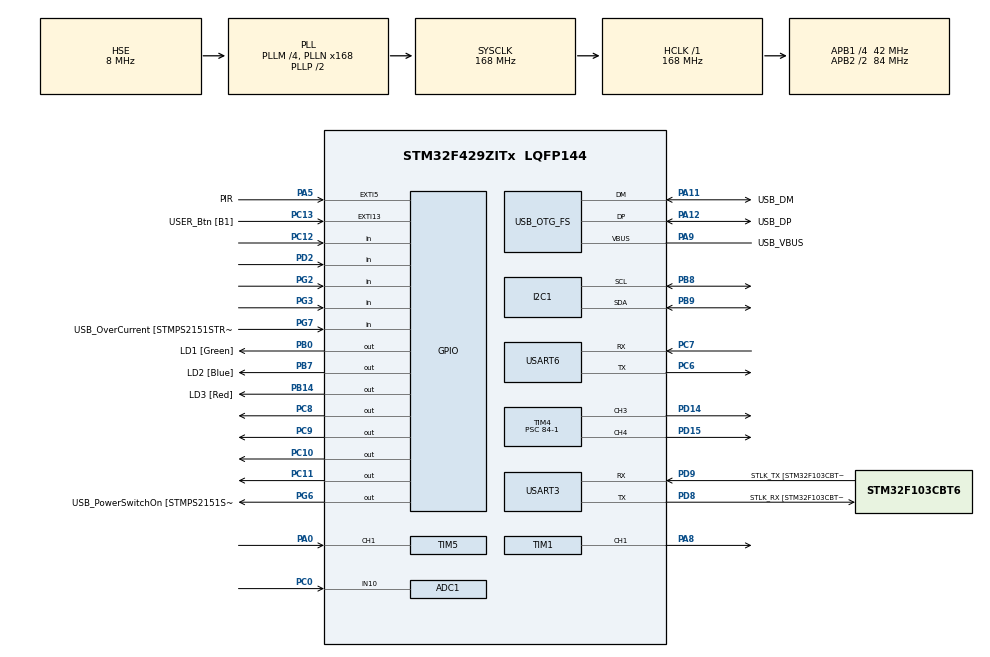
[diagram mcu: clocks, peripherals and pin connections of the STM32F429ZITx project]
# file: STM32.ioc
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ADC1.Channel-1\#ChannelRegularConversion=ADC_CHANNEL_10
ADC1.ContinuousConvMode=ENABLE
ADC1.EOCSelection=ADC_EOC_SEQ_CONV
ADC1.EnableAnalogWatchDog=true
ADC1.NbrOfConversionFlag=1
ADC1.Rank-1\#ChannelRegularConversion=1
ADC1.SamplingTime-1\#ChannelRegularConversion=ADC_SAMPLETIME_3CYCLES
ADC1.ScanConvMode=ENABLE
ADC1.WatchdogChannel=ADC_CHANNEL_10
ADC1.master=1
Mcu.Family=STM32F4
Mcu.Name=STM32F429ZITx
Mcu.Package=LQFP144
NVIC.EXTI9_5_IRQn=true\:2\:0\:true\:false\:true\:true\:true\:true
NVIC.PriorityGroup=NVIC_PRIORITYGROUP_4
NVIC.TIM2_IRQn=true\:1\:0\:true\:false\:true\:true\:true\:true
NVIC.TIM5_IRQn=true\:0\:0\:true\:false\:true\:true\:true\:true
NVIC.USART6_IRQn=true\:3\:0\:true\:false\:true\:true\:true\:true
PA0/WKUP.Signal=S_TIM5_CH1
PA1.GPIO_Label=RMII_REF_CLK [LAN8742A-CZ-TR_REFCLK0]
PA1.Signal=ETH_REF_CLK
PA10.GPIO_Label=USB_ID
PA10.Signal=USB_OTG_FS_ID
PA11.GPIO_Label=USB_DM
PA11.Mode=Device_Only
PA11.Signal=USB_OTG_FS_DM
PA12.GPIO_Label=USB_DP
PA12.Mode=Device_Only
PA12.Signal=USB_OTG_FS_DP
PA13.GPIO_Label=TMS
PA13.Mode=Serial_Wire
PA13.Signal=SYS_JTMS-SWDIO
PA14.GPIO_Label=TCK
PA14.Mode=Serial_Wire
PA14.Signal=SYS_JTCK-SWCLK
PA2.GPIO_Label=RMII_MDIO [LAN8742A-CZ-TR_MDIO]
PA2.Signal=ETH_MDIO
PA5.GPIO_Label=PIR
PA5.Signal=GPXTI5
PA6.Signal=S_TIM13_CH1
PA7.Signal=S_TIM14_CH1
PA8.Signal=S_TIM1_CH1
PA9.GPIO_Label=USB_VBUS
PA9.Mode=Activate_VBUS
PA9.Signal=USB_OTG_FS_VBUS
PB0.GPIO_Label=LD1 [Green]
PB0.Signal=GPIO_Output
PB13.GPIO_Label=RMII_TXD1 [LAN8742A-CZ-TR_TXD1]
PB13.Signal=ETH_TXD1
PB14.GPIO_Label=LD3 [Red]
PB14.Signal=GPIO_Output
PB7.GPIO_Label=LD2 [Blue]
PB7.Signal=GPIO_Output
PB8.GPIO_Pu=GPIO_PULLUP
PB8.Mode=I2C
PB8.Signal=I2C1_SCL
PB9.GPIO_Pu=GPIO_PULLUP
PB9.Mode=I2C
PB9.Signal=I2C1_SDA
PC0.Signal=ADCx_IN10
PC1.GPIO_Label=RMII_MDC [LAN8742A-CZ-TR_MDC]
PC1.Signal=ETH_MDC
PC10.Signal=GPIO_Output
PC11.Signal=GPIO_Output
PC12.GPIO_PuPd=GPIO_PULLUP
PC12.Signal=GPIO_Input
PC13.GPIO_Label=USER_Btn [B1]
PC13.Signal=GPXTI13
PC14/OSC32_IN.Mode=LSE-External-Oscillator
PC14/OSC32_IN.Signal=RCC_OSC32_IN
PC15/OSC32_OUT.Mode=LSE-External-Oscillator
PC15/OSC32_OUT.Signal=RCC_OSC32_OUT
PC6.GPIO_PuPd=GPIO_PULLDOWN
PC6.Mode=Asynchronous
PC6.Signal=USART6_TX
PC7.Mode=Asynchronous
PC7.Signal=USART6_RX
PC8.Signal=GPIO_Output
PC9.Signal=GPIO_Output
PD14.Signal=S_TIM4_CH3
PD15.Signal=S_TIM4_CH4
PD2.GPIO_PuPd=GPIO_PULLUP
PD2.Signal=GPIO_Input
PD8.GPIO_Label=STLK_RX [STM32F103CBT6_PA3]
PD8.Mode=Asynchronous
PD8.Signal=USART3_TX
PD9.GPIO_Label=STLK_TX [STM32F103CBT6_PA2]
PD9.Mode=Asynchronous
PD9.Signal=USART3_RX
PG11.GPIO_Label=RMII_TX_EN [LAN8742A-CZ-TR_TXEN]
PG11.Signal=ETH_TX_EN
PG13.GPIO_Label=RMII_TXD0 [LAN8742A-CZ-TR_TXD0]
PG13.Signal=ETH_TXD0
PG2.GPIO_PuPd=GPIO_PULLUP
PG2.Signal=GPIO_Input
PG3.GPIO_PuPd=GPIO_PULLUP
PG3.Signal=GPIO_Input
PG6.GPIO_Label=USB_PowerSwitchOn [STMPS2151STR_EN]
PG6.Signal=GPIO_Output
PG7.GPIO_Label=USB_OverCurrent [STMPS2151STR_FAULT]
PG7.Signal=GPIO_Input
PH0/OSC_IN.GPIO_Label=MCO [STM32F103CBT6_PA8]
PH0/OSC_IN.Mode=HSE-External-Clock-Source
PH0/OSC_IN.Signal=RCC_OSC_IN
PH1/OSC_OUT.Mode=HSE-External-Clock-Source
PH1/OSC_OUT.Signal=RCC_OSC_OUT
ProjectManager.HeapSize=0x200
ProjectManager.StackSize=0x400
ProjectManager.TargetToolchain=STM32CubeIDE
RCC.48MHZClocksFreq_Value=48000000
RCC.AHBFreq_Value=168000000
RCC.APB1CLKDivider=RCC_HCLK_DIV4
RCC.APB1Freq_Value=42000000
RCC.APB1TimFreq_Value=84000000
RCC.APB2CLKDivider=RCC_HCLK_DIV2
RCC.APB2Freq_Value=84000000
RCC.APB2TimCLKDivider=2
RCC.APB2TimFreq_Value=168000000
RCC.CortexFreq_Value=168000000
RCC.HCLKFreq_Value=168000000
RCC.HSE_VALUE=8000000
RCC.HSI_VALUE=16000000
RCC.PLLM=4
RCC.PLLMUL=RCC_PLL_MUL9
RCC.PLLN=168
RCC.PLLQ=7
RCC.PRESCALERUSB=RCC_USBCLKSOURCE_PLL_DIV1_5
RCC.SYSCLKFreq_VALUE=168000000
RCC.SYSCLKSource=RCC_SYSCLKSOURCE_PLLCLK
RCC.SYSCLKSourceVirtual=RCC_SYSCLKSOURCE_PLLCLK
RCC.USBFreq_Value=48000000
RCC.VCOOutputFreq_Value=336000000
SH.ADCx_IN10.0=ADC1_IN10,IN10
SH.S_TIM13_CH1.0=TIM13_CH1
SH.S_TIM14_CH1.0=TIM14_CH1
SH.S_TIM1_CH1.0=TIM1_CH1,PWM Generation1 CH1
SH.S_TIM4_CH3.0=TIM4_CH3,PWM Generation3 CH3
SH.S_TIM4_CH4.0=TIM4_CH4,PWM Generation4 CH4
SH.S_TIM5_CH1.0=TIM5_CH1,Input_Capture1_from_TI1
TIM1.Channel-PWM\ Generation1\ CH1=TIM_CHANNEL_1
TIM1.Period=100 - 1
TIM1.Prescaler=1800 - 1
TIM2.Period=300000 - 1
TIM2.Prescaler=8400 - 1
TIM4.Channel-PWM\ Generation3\ CH3=TIM_CHANNEL_3
TIM4.Channel-PWM\ Generation4\ CH4=TIM_CHANNEL_4
TIM4.Period=20000-1
TIM4.Prescaler=84-1
TIM4.Pulse-PWM\ Generation3\ CH3=1500
TIM4.Pulse-PWM\ Generation4\ CH4=1500
TIM5.Channel-Input_Capture1_from_TI1=TIM_CHANNEL_1
TIM5.Period=0xFFFFFFFF
TIM5.Prescaler=83
USART3.VirtualMode=VM_ASYNC
USART6.VirtualMode=VM_ASYNC
USB_OTG_FS.VirtualMode=Device_Only
VP_TIM1_VS_ClockSourceINT.Mode=Internal
VP_TIM2_VS_ClockSourceINT.Mode=Internal
VP_TIM4_VS_ClockSourceINT.Mode=Internal
VP_TIM5_VS_ClockSourceINT.Mode=Internal
board=NUCLEO-F429ZI

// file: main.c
/* USER CODE BEGIN Header */
/**
  ******************************************************************************
  * @file           : main.c
  * @brief          : Main program body
  ******************************************************************************
  * @attention
  *
  * Copyright (c) 2025 STMicroelectronics.
  * All rights reserved.
  *
  * This software is licensed under terms that can be found in the LICENSE file
  * in the root directory of this software component.
  * If no LICENSE file comes with this software, it is provided AS-IS.
  *
  ******************************************************************************
  */
/* USER CODE END Header */
#include "main.h"

/* USER CODE BEGIN Includes */
#include "servo.h"
#include "motor.h"
#include "ESP32.h"
#include "temperature.h"
#include "lcd1602_i2c.h"
#include "keypad.h"
#include <stdio.h>
#include <string.h>
#include <stdlib.h>

/* USER CODE END Includes */

ADC_HandleTypeDef hadc1;

I2C_HandleTypeDef hi2c1;

TIM_HandleTypeDef htim1;
TIM_HandleTypeDef htim2;
TIM_HandleTypeDef htim4;
TIM_HandleTypeDef htim5;

UART_HandleTypeDef huart3;
UART_HandleTypeDef huart6;

PCD_HandleTypeDef hpcd_USB_OTG_FS;

void SystemClock_Config(void);
static void MX_GPIO_Init(void);
static void MX_USART3_UART_Init(void);
static void MX_USB_OTG_FS_PCD_Init(void);
static void MX_ADC1_Init(void);
static void MX_TIM1_Init(void);
static void MX_USART6_UART_Init(void);
static void MX_TIM2_Init(void);
static void MX_I2C1_Init(void);
static void MX_TIM4_Init(void);
static void MX_TIM5_Init(void);

/* USER CODE BEGIN 0 */
char str[256];
char strC1[17];
char strC2[17];

int PIR_Flags=1;
volatile uint8_t bitCount = 0;
volatile uint8_t isStartCaptured = 0;
volatile uint32_t receivedData = 0;
static volatile uint32_t IC_Value = 0;
char ir_value = 'N';
/* USER CODE END 0 */

int main(void)
{

  /* MCU Configuration--------------------------------------------------------*/

  /* Reset of all peripherals, Initializes the Flash interface and the Systick. */
  HAL_Init();

  /* Configure the system clock */
  SystemClock_Config();

  /* Initialize all configured peripherals */
  MX_GPIO_Init();
  MX_USART3_UART_Init();
  MX_USB_OTG_FS_PCD_Init();
  MX_ADC1_Init();
  MX_TIM1_Init();
  MX_USART6_UART_Init();
  MX_TIM2_Init();
  MX_I2C1_Init();
  MX_TIM4_Init();
  MX_TIM5_Init();
  /* USER CODE BEGIN 2 */
  HAL_TIM_PWM_Start(&htim4, TIM_CHANNEL_3);
  HAL_TIM_PWM_Start(&htim4, TIM_CHANNEL_4);
  HAL_TIM_Base_Start_IT(&htim2);
  HAL_TIM_IC_Start_IT(&htim5, TIM_CHANNEL_1);
  Motor_Init(&htim1);
  Keypad_Init();
  Calibrate_Servo_Zero();
  HAL_ADC_Start(&hadc1);
  LCD_Init();
  LCD_Clear();
  uint32_t lastUpdate = 0; //  ?????? ?  ? ?????? ?次更?  ??  ??
  int oldFanState = -1,oldFanSpeed = -1,oldFanhAngle = -1,oldFanvAngle = -1;
  float temperature = ADC1_temperature(),oldtemperature=25;
  int hAngle_state=0,vAngle_state=0,hAngle=0,vAngle=0,hstep=1,vstep=1;
  char tempKey='N';
  static uint32_t lastIRProcessTick = 0;

//  FanData fanStatus = ESP32_GetFanData();
  /* USER CODE END 2 */

  /* Infinite loop */
  while (1)
  {

    /* USER CODE BEGIN 3 */

//	  temperature = Get_Temperature(); // ??????????30秒更?  溫度

	  temperature = ADC1_temperature(); //?  ?? ?  ?  溫度
	  ESP32_UART_Receive(); //??  ? ESP32??  ??
	  FanData fanStatus = ESP32_GetFanData();

	  if(HAL_GPIO_ReadPin(USER_Btn_GPIO_Port, USER_Btn_Pin)==1){//STM32 ?????? ?  ?  ???????
    	  fanStatus.fanState = !fanStatus.fanState;
	  }

	  if(PIR_Flags==0){//PIR??  ? ?   ?  人自??  ?  ?  ?????????
		  fanStatus.fanState=0;
	  }

	  if(fanStatus.fanState==0){//?  ?? State?  ?   ?????? ??
		  Motor_Stop();
	  }else{
		  if(fanStatus.fanState>1){
			  fanStatus.fanState=1;
		  }
		  Motor_SetSpeed(fanStatus.fanSpeed);
	  }

	  //?  顆伺??  ????????  ?  ???????  ?
	  if(hAngle_state){
		  if (hAngle >= 100) {
		      hAngle = 100;
		      hstep = -5;
		  } else if (hAngle <= 0) {
		      hAngle = 0;
		      hstep = 5;
		  }
		  hAngle+=hstep;
		  fanStatus.hAngle=hAngle;
		  Set_Servo_Angle((int)(fanStatus.hAngle*1.8),360);
	  }else{
		  Set_Servo_Angle((int)(fanStatus.hAngle*1.8),360);
		  hAngle=fanStatus.hAngle;
	  }
	  if(vAngle_state){
		  if (vAngle >= 100) {
		      vAngle = 100;
		      vstep = -5;
		  } else if (hAngle <= 0) {
		      vAngle = 0;
		      vstep = 5;
		  }
		  vAngle+=vstep;
		  fanStatus.vAngle=vAngle;
		  Set_Servo_Angle((int)(fanStatus.vAngle*0.9),180);
	  }else{
		  Set_Servo_Angle((int)(fanStatus.vAngle*0.9),180);
		  vAngle=fanStatus.vAngle;
	  }

	  char key = Keypad_Scan();
	  if (key) {
		  tempKey=key;
		  switch (key) {
			  case 'A':
				  fanStatus.fanState = !fanStatus.fanState;
				  break;
			  case '3':
				  if(fanStatus.fanSpeed<=0){
					  fanStatus.fanSpeed=0;
				  }else{
					  fanStatus.fanSpeed-=10;
				  }
				  break;
			  case '2':
				  fanStatus.fanSpeed=50;
				  break;
			  case '1':
				  if(fanStatus.fanSpeed>=100){
					  fanStatus.fanSpeed=100;
				  }else{
					  fanStatus.fanSpeed+=10;
				  }
				  break;

			  case 'B':
				  hAngle_state = !hAngle_state;
				  break;
			  case '6':
				  hAngle_state=0;
				  if(fanStatus.hAngle<=0){
					  fanStatus.hAngle=0;
				  }else{
					  fanStatus.hAngle-=10;
				  }
				  break;
			  case '5':
				  hAngle_state=0;
				  fanStatus.hAngle=50;
				  break;
			  case '4':
				  hAngle_state=0;
				  if(fanStatus.hAngle>=100){
					  fanStatus.hAngle=100;
				  }else{
					  fanStatus.hAngle+=10;
				  }
				  break;

			  case 'C':
				  vAngle_state = !vAngle_state;
				  break;
			  case '9':
				  vAngle_state=0;
				  if(fanStatus.vAngle<=0){
					  fanStatus.vAngle=0;
				  }else{
					  fanStatus.vAngle-=10;
				  }
				  break;
			  case '8':
				  vAngle_state=0;
				  fanStatus.vAngle=50;
				  break;
			  case '7':
				  vAngle_state=0;
				  if(fanStatus.vAngle>=100){
					  fanStatus.vAngle=100;
				  }else{
					  fanStatus.vAngle+=10;
				  }
				  break;
			  default:
				  break;
		  }
	  }
	  if (32 <= bitCount){
		  if (((receivedData>>16) & 0xFF) == ((~(receivedData>>24)) & 0xFF)){
			switch(receivedData) {
				case 0xB946FF00:  // up
					ir_value = 'U';
					  vAngle_state=0;
					  if(fanStatus.vAngle>=100){
						  fanStatus.vAngle=100;
					  }else{
						  fanStatus.vAngle+=10;
					  }
					break;
				case 0xEA15FF00:  // down
					ir_value = 'D';
					  vAngle_state=0;
					  if(fanStatus.vAngle<=0){
						  fanStatus.vAngle=0;
					  }else{
						  fanStatus.vAngle-=10;
					  }
					break;
				case 0xBB44FF00:  // left
					ir_value = 'L';
					  hAngle_state=0;
					  if(fanStatus.hAngle<=0){
						  fanStatus.hAngle=0;
					  }else{
						  fanStatus.hAngle-=10;
					  }
					break;
				case 0xBC43FF00:  // right
					ir_value = 'R';
					  hAngle_state=0;
					  if(fanStatus.hAngle>=100){
						  fanStatus.hAngle=100;
					  }else{
						  fanStatus.hAngle+=10;
					  }
					break;
				case 0xBF40FF00:  // OK
					ir_value = 'O';
					  fanStatus.fanState = !fanStatus.fanState;
					break;
				case 0xE916FF00:
					ir_value = '1';
					fanStatus.fanSpeed=10;
					break;
				case 0xE619FF00:
					ir_value = '2';
					fanStatus.fanSpeed=20;
					break;
				case 0xF20DFF00:
					ir_value = '3';
					fanStatus.fanSpeed=30;
					break;
				case 0xF30CFF00:
					ir_value = '4';
					fanStatus.fanSpeed=40;
					break;
				case 0xE718FF00:
					ir_value = '5';
					fanStatus.fanSpeed=50;
					break;
				case 0xA15EFF00:
					ir_value = '6';
					fanStatus.fanSpeed=60;
					break;
				case 0xF708FF00:
					ir_value = '7';
					fanStatus.fanSpeed=70;
					break;
				case 0xE31CFF00:
					ir_value = '8';
					fanStatus.fanSpeed=80;
					break;
				case 0xA55AFF00:
					ir_value = '9';
					fanStatus.fanSpeed=90;
					break;
				case 0xAD52FF00:
					ir_value = '0';
					fanStatus.fanSpeed=100;
					break;
				case 0xBD42FF00:
					ir_value = '*';
					  hAngle_state = !hAngle_state;
					break;
				case 0xB54AFF00:
					ir_value = '#';
					  vAngle_state = !vAngle_state;
					break;
				default:
					ir_value = 'N';  // ?   ?????? ?  ? ?
					break;
			}
		  }else{
			  ir_value='N';
		  }
		    HAL_TIM_IC_Stop_IT(&htim5, TIM_CHANNEL_1);
		    __HAL_TIM_CLEAR_IT(&htim5, TIM_IT_CC1);
		    __HAL_TIM_CLEAR_FLAG(&htim5, TIM_FLAG_CC1);
		    __HAL_TIM_SET_COUNTER(&htim5, 0);
		    bitCount = 0;
		    receivedData = 0;
		    isStartCaptured = 0;

		    // 等 ?? 100ms ??  ? 許下 ?次解 ?
		    lastIRProcessTick = HAL_GetTick();

		  HAL_TIM_IC_Start_IT(&htim5, TIM_CHANNEL_1);                // ?? 新??  ? 中?

//	  		if (ir_value != '\0') {
//	  		  	sprintf(str,"IR char: %c\r\n", ir_value);
//	  		  	HAL_UART_Transmit(&huart3, (uint8_t*)str, strlen(str), 100);
//	  		}
	  }
	  if ((HAL_GetTick() - lastIRProcessTick) > 100) {
	      if (bitCount == 0 && isStartCaptured == 0) {
	          HAL_TIM_IC_Start_IT(&htim5, TIM_CHANNEL_1);
	      }
	  }
	  //??  ?  ? ?  ?  ??  ? ?  給ESP32
      if (fanStatus.fanState != oldFanState||fanStatus.fanSpeed != oldFanSpeed||fanStatus.hAngle != oldFanhAngle||fanStatus.vAngle != oldFanvAngle||oldtemperature!=temperature) {  // **?  ?  ?? ?   ?????? ? ?  ??**
          SendDataToESP32(fanStatus.fanState, fanStatus.fanSpeed, fanStatus.hAngle, fanStatus.vAngle,temperature);
          oldFanState = fanStatus.fanState;
          oldFanSpeed = fanStatus.fanSpeed;
          oldFanhAngle = fanStatus.hAngle;
          oldFanvAngle = fanStatus.vAngle;
          oldtemperature = temperature;
      }

      //AccessPort顯示
//      sprintf(str,"State: %d Speed: %d%%\n hAngle_state: %d hAngle: %d vAngle_state: %d vAngle: %d\n T: %f ",fanStatus.fanState,fanStatus.fanSpeed,hAngle_state,(int)(fanStatus.hAngle*1.8),vAngle_state,(int)(fanStatus.vAngle*0.9),temperature);
//	  HAL_UART_Transmit(&huart3, (uint8_t*)str, strlen(str), 300);
//      sprintf(str,"tempKey: %c PIR_Flags: %d IR: %c\n \n",tempKey,PIR_Flags,ir_value);
//	  HAL_UART_Transmit(&huart3, (uint8_t*)str, strlen(str), 300);
      sprintf(str,
        "=========\r\n"
        "| State        : %d\r\n"
        "| Speed        : %d %%\r\n"
        "| hAngle_state : %d\r\n"
        "| hAngle       : %d\r\n"
        "| vAngle_state : %d\r\n"
        "| vAngle       : %d\r\n"
        "| Temperature  : %.2f\r\n"
        "| tempKey      : %c\r\n"
        "| PIR_Flags    : %d\r\n"
        "| IR           : %c\r\n"
        "=========\r\n",
        fanStatus.fanState,
        fanStatus.fanSpeed,
        hAngle_state,
        (int)(fanStatus.hAngle * 1.8),
        vAngle_state,
        (int)(fanStatus.vAngle * 0.9),
        temperature,
        tempKey,
        PIR_Flags,
        ir_value
      );
      HAL_UART_Transmit(&huart3, (uint8_t*)str, strlen(str), HAL_MAX_DELAY);

      if (HAL_GetTick() - lastUpdate >= 500) {
          lastUpdate = HAL_GetTick();
//          LCD_Clear();

          sprintf(strC1, "F%dS%3d T%2d P%dR%c",
                  fanStatus.fanState,
                  fanStatus.fanSpeed,
                  (int)temperature,
                  PIR_Flags,
                  ir_value);
          sprintf(strC1 + strlen(strC1), "%*s", 16 - strlen(strC1), "");
          LCD_SetCursor(0, 0);
          LCD_Print(strC1);

          sprintf(strC2, "h%d%3d v%d%3d K%c",
                  hAngle_state,
                  (int)(fanStatus.hAngle * 1.8),
                  vAngle_state,
                  (int)(fanStatus.vAngle * 0.9),
                  tempKey);
          sprintf(strC2 + strlen(strC2), "%*s", 16 - strlen(strC2), "");
          LCD_SetCursor(1, 0);
          LCD_Print(strC2);
      }
//	  memset(str, 0, sizeof(str));
//	  memset(strC1, 0, sizeof(strC1));
//	  memset(strC2, 0, sizeof(strC2));
//            */
	  HAL_Delay(500);

  }
  /* USER CODE END 3 */
}

void SystemClock_Config(void)
{
  RCC_OscInitTypeDef RCC_OscInitStruct = {0};
  RCC_ClkInitTypeDef RCC_ClkInitStruct = {0};

  /** Configure the main internal regulator output voltage
  */
  __HAL_RCC_PWR_CLK_ENABLE();
  __HAL_PWR_VOLTAGESCALING_CONFIG(PWR_REGULATOR_VOLTAGE_SCALE1);

  /** Initializes the RCC Oscillators according to the specified parameters
  * in the RCC_OscInitTypeDef structure.
  */
  RCC_OscInitStruct.OscillatorType = RCC_OSCILLATORTYPE_HSE;
  RCC_OscInitStruct.HSEState = RCC_HSE_BYPASS;
  RCC_OscInitStruct.PLL.PLLState = RCC_PLL_ON;
  RCC_OscInitStruct.PLL.PLLSource = RCC_PLLSOURCE_HSE;
  RCC_OscInitStruct.PLL.PLLM = 4;
  RCC_OscInitStruct.PLL.PLLN = 168;
  RCC_OscInitStruct.PLL.PLLP = RCC_PLLP_DIV2;
  RCC_OscInitStruct.PLL.PLLQ = 7;
  if (HAL_RCC_OscConfig(&RCC_OscInitStruct) != HAL_OK)
  {
    Error_Handler();
  }

  /** Initializes the CPU, AHB and APB buses clocks
  */
  RCC_ClkInitStruct.ClockType = RCC_CLOCKTYPE_HCLK|RCC_CLOCKTYPE_SYSCLK
                              |RCC_CLOCKTYPE_PCLK1|RCC_CLOCKTYPE_PCLK2;
  RCC_ClkInitStruct.SYSCLKSource = RCC_SYSCLKSOURCE_PLLCLK;
  RCC_ClkInitStruct.AHBCLKDivider = RCC_SYSCLK_DIV1;
  RCC_ClkInitStruct.APB1CLKDivider = RCC_HCLK_DIV4;
  RCC_ClkInitStruct.APB2CLKDivider = RCC_HCLK_DIV2;

  if (HAL_RCC_ClockConfig(&RCC_ClkInitStruct, FLASH_LATENCY_5) != HAL_OK)
  {
    Error_Handler();
  }
}

static void MX_ADC1_Init(void)
{

  ADC_AnalogWDGConfTypeDef AnalogWDGConfig = {0};
  ADC_ChannelConfTypeDef sConfig = {0};

  /** Configure the global features of the ADC (Clock, Resolution, Data Alignment and number of conversion)
  */
  hadc1.Instance = ADC1;
  hadc1.Init.ClockPrescaler = ADC_CLOCK_SYNC_PCLK_DIV4;
  hadc1.Init.Resolution = ADC_RESOLUTION_12B;
  hadc1.Init.ScanConvMode = ENABLE;
  hadc1.Init.ContinuousConvMode = ENABLE;
  hadc1.Init.DiscontinuousConvMode = DISABLE;
  hadc1.Init.ExternalTrigConvEdge = ADC_EXTERNALTRIGCONVEDGE_NONE;
  hadc1.Init.ExternalTrigConv = ADC_SOFTWARE_START;
  hadc1.Init.DataAlign = ADC_DATAALIGN_RIGHT;
  hadc1.Init.NbrOfConversion = 1;
  hadc1.Init.DMAContinuousRequests = DISABLE;
  hadc1.Init.EOCSelection = ADC_EOC_SEQ_CONV;
  if (HAL_ADC_Init(&hadc1) != HAL_OK)
  {
    Error_Handler();
  }

  /** Configure the analog watchdog
  */
  AnalogWDGConfig.WatchdogMode = ADC_ANALOGWATCHDOG_SINGLE_REG;
  AnalogWDGConfig.HighThreshold = 0;
  AnalogWDGConfig.LowThreshold = 0;
  AnalogWDGConfig.Channel = ADC_CHANNEL_10;
  AnalogWDGConfig.ITMode = DISABLE;
  if (HAL_ADC_AnalogWDGConfig(&hadc1, &AnalogWDGConfig) != HAL_OK)
  {
    Error_Handler();
  }

  /** Configure for the selected ADC regular channel its corresponding rank in the sequencer and its sample time.
  */
  sConfig.Channel = ADC_CHANNEL_10;
  sConfig.Rank = 1;
  sConfig.SamplingTime = ADC_SAMPLETIME_3CYCLES;
  if (HAL_ADC_ConfigChannel(&hadc1, &sConfig) != HAL_OK)
  {
    Error_Handler();
  }

}

static void MX_I2C1_Init(void)
{

  hi2c1.Instance = I2C1;
  hi2c1.Init.ClockSpeed = 100000;
  hi2c1.Init.DutyCycle = I2C_DUTYCYCLE_2;
  hi2c1.Init.OwnAddress1 = 0;
  hi2c1.Init.AddressingMode = I2C_ADDRESSINGMODE_7BIT;
  hi2c1.Init.DualAddressMode = I2C_DUALADDRESS_DISABLE;
  hi2c1.Init.OwnAddress2 = 0;
  hi2c1.Init.GeneralCallMode = I2C_GENERALCALL_DISABLE;
  hi2c1.Init.NoStretchMode = I2C_NOSTRETCH_DISABLE;
  if (HAL_I2C_Init(&hi2c1) != HAL_OK)
  {
    Error_Handler();
  }

  /** Configure Analogue filter
  */
  if (HAL_I2CEx_ConfigAnalogFilter(&hi2c1, I2C_ANALOGFILTER_ENABLE) != HAL_OK)
  {
    Error_Handler();
  }

  /** Configure Digital filter
  */
  if (HAL_I2CEx_ConfigDigitalFilter(&hi2c1, 0) != HAL_OK)
  {
    Error_Handler();
  }

}

static void MX_TIM1_Init(void)
{

  TIM_ClockConfigTypeDef sClockSourceConfig = {0};
  TIM_MasterConfigTypeDef sMasterConfig = {0};
  TIM_OC_InitTypeDef sConfigOC = {0};
  TIM_BreakDeadTimeConfigTypeDef sBreakDeadTimeConfig = {0};

  htim1.Instance = TIM1;
  htim1.Init.Prescaler = 1800 - 1;
  htim1.Init.CounterMode = TIM_COUNTERMODE_UP;
  htim1.Init.Period = 100 - 1;
  htim1.Init.ClockDivision = TIM_CLOCKDIVISION_DIV1;
  htim1.Init.RepetitionCounter = 0;
  htim1.Init.AutoReloadPreload = TIM_AUTORELOAD_PRELOAD_DISABLE;
  if (HAL_TIM_Base_Init(&htim1) != HAL_OK)
  {
    Error_Handler();
  }
  sClockSourceConfig.ClockSource = TIM_CLOCKSOURCE_INTERNAL;
  if (HAL_TIM_ConfigClockSource(&htim1, &sClockSourceConfig) != HAL_OK)
  {
    Error_Handler();
  }
  if (HAL_TIM_PWM_Init(&htim1) != HAL_OK)
  {
    Error_Handler();
  }
  sMasterConfig.MasterOutputTrigger = TIM_TRGO_RESET;
  sMasterConfig.MasterSlaveMode = TIM_MASTERSLAVEMODE_DISABLE;
  if (HAL_TIMEx_MasterConfigSynchronization(&htim1, &sMasterConfig) != HAL_OK)
  {
    Error_Handler();
  }
  sConfigOC.OCMode = TIM_OCMODE_PWM1;
  sConfigOC.Pulse = 0;
  sConfigOC.OCPolarity = TIM_OCPOLARITY_HIGH;
  sConfigOC.OCNPolarity = TIM_OCNPOLARITY_HIGH;
  sConfigOC.OCFastMode = TIM_OCFAST_DISABLE;
  sConfigOC.OCIdleState = TIM_OCIDLESTATE_RESET;
  sConfigOC.OCNIdleState = TIM_OCNIDLESTATE_RESET;
  if (HAL_TIM_PWM_ConfigChannel(&htim1, &sConfigOC, TIM_CHANNEL_1) != HAL_OK)
  {
    Error_Handler();
  }
  sBreakDeadTimeConfig.OffStateRunMode = TIM_OSSR_DISABLE;
  sBreakDeadTimeConfig.OffStateIDLEMode = TIM_OSSI_DISABLE;
  sBreakDeadTimeConfig.LockLevel = TIM_LOCKLEVEL_OFF;
  sBreakDeadTimeConfig.DeadTime = 0;
  sBreakDeadTimeConfig.BreakState = TIM_BREAK_DISABLE;
  sBreakDeadTimeConfig.BreakPolarity = TIM_BREAKPOLARITY_HIGH;
  sBreakDeadTimeConfig.AutomaticOutput = TIM_AUTOMATICOUTPUT_DISABLE;
  if (HAL_TIMEx_ConfigBreakDeadTime(&htim1, &sBreakDeadTimeConfig) != HAL_OK)
  {
    Error_Handler();
  }
  HAL_TIM_MspPostInit(&htim1);

}

static void MX_TIM2_Init(void)
{

  TIM_ClockConfigTypeDef sClockSourceConfig = {0};
  TIM_MasterConfigTypeDef sMasterConfig = {0};

  htim2.Instance = TIM2;
  htim2.Init.Prescaler = 8400 - 1;
  htim2.Init.CounterMode = TIM_COUNTERMODE_UP;
  htim2.Init.Period = 300000 - 1;
  htim2.Init.ClockDivision = TIM_CLOCKDIVISION_DIV1;
  htim2.Init.AutoReloadPreload = TIM_AUTORELOAD_PRELOAD_DISABLE;
  if (HAL_TIM_Base_Init(&htim2) != HAL_OK)
  {
    Error_Handler();
  }
  sClockSourceConfig.ClockSource = TIM_CLOCKSOURCE_INTERNAL;
  if (HAL_TIM_ConfigClockSource(&htim2, &sClockSourceConfig) != HAL_OK)
  {
    Error_Handler();
  }
  sMasterConfig.MasterOutputTrigger = TIM_TRGO_RESET;
  sMasterConfig.MasterSlaveMode = TIM_MASTERSLAVEMODE_DISABLE;
  if (HAL_TIMEx_MasterConfigSynchronization(&htim2, &sMasterConfig) != HAL_OK)
  {
    Error_Handler();
  }

}

static void MX_TIM4_Init(void)
{

  TIM_ClockConfigTypeDef sClockSourceConfig = {0};
  TIM_MasterConfigTypeDef sMasterConfig = {0};
  TIM_OC_InitTypeDef sConfigOC = {0};

  htim4.Instance = TIM4;
  htim4.Init.Prescaler = 84-1;
  htim4.Init.CounterMode = TIM_COUNTERMODE_UP;
  htim4.Init.Period = 20000-1;
  htim4.Init.ClockDivision = TIM_CLOCKDIVISION_DIV1;
  htim4.Init.AutoReloadPreload = TIM_AUTORELOAD_PRELOAD_DISABLE;
  if (HAL_TIM_Base_Init(&htim4) != HAL_OK)
  {
    Error_Handler();
  }
  sClockSourceConfig.ClockSource = TIM_CLOCKSOURCE_INTERNAL;
  if (HAL_TIM_ConfigClockSource(&htim4, &sClockSourceConfig) != HAL_OK)
  {
    Error_Handler();
  }
  if (HAL_TIM_PWM_Init(&htim4) != HAL_OK)
  {
    Error_Handler();
  }
  sMasterConfig.MasterOutputTrigger = TIM_TRGO_RESET;
  sMasterConfig.MasterSlaveMode = TIM_MASTERSLAVEMODE_DISABLE;
  if (HAL_TIMEx_MasterConfigSynchronization(&htim4, &sMasterConfig) != HAL_OK)
  {
    Error_Handler();
  }
  sConfigOC.OCMode = TIM_OCMODE_PWM1;
  sConfigOC.Pulse = 1500;
  sConfigOC.OCPolarity = TIM_OCPOLARITY_HIGH;
  sConfigOC.OCFastMode = TIM_OCFAST_DISABLE;
  if (HAL_TIM_PWM_ConfigChannel(&htim4, &sConfigOC, TIM_CHANNEL_3) != HAL_OK)
  {
    Error_Handler();
  }
  if (HAL_TIM_PWM_ConfigChannel(&htim4, &sConfigOC, TIM_CHANNEL_4) != HAL_OK)
  {
    Error_Handler();
  }
  HAL_TIM_MspPostInit(&htim4);

}

static void MX_TIM5_Init(void)
{

  TIM_ClockConfigTypeDef sClockSourceConfig = {0};
  TIM_MasterConfigTypeDef sMasterConfig = {0};
  TIM_IC_InitTypeDef sConfigIC = {0};

  htim5.Instance = TIM5;
  htim5.Init.Prescaler = 83;
  htim5.Init.CounterMode = TIM_COUNTERMODE_UP;
  htim5.Init.Period = 0xFFFFFFFF;
  htim5.Init.ClockDivision = TIM_CLOCKDIVISION_DIV1;
  htim5.Init.AutoReloadPreload = TIM_AUTORELOAD_PRELOAD_DISABLE;
  if (HAL_TIM_Base_Init(&htim5) != HAL_OK)
  {
    Error_Handler();
  }
  sClockSourceConfig.ClockSource = TIM_CLOCKSOURCE_INTERNAL;
  if (HAL_TIM_ConfigClockSource(&htim5, &sClockSourceConfig) != HAL_OK)
  {
    Error_Handler();
  }
  if (HAL_TIM_IC_Init(&htim5) != HAL_OK)
  {
    Error_Handler();
  }
  sMasterConfig.MasterOutputTrigger = TIM_TRGO_RESET;
  sMasterConfig.MasterSlaveMode = TIM_MASTERSLAVEMODE_DISABLE;
  if (HAL_TIMEx_MasterConfigSynchronization(&htim5, &sMasterConfig) != HAL_OK)
  {
    Error_Handler();
  }
  sConfigIC.ICPolarity = TIM_INPUTCHANNELPOLARITY_RISING;
  sConfigIC.ICSelection = TIM_ICSELECTION_DIRECTTI;
  sConfigIC.ICPrescaler = TIM_ICPSC_DIV1;
  sConfigIC.ICFilter = 0;
  if (HAL_TIM_IC_ConfigChannel(&htim5, &sConfigIC, TIM_CHANNEL_1) != HAL_OK)
  {
    Error_Handler();
  }

}

static void MX_USART3_UART_Init(void)
{

  huart3.Instance = USART3;
  huart3.Init.BaudRate = 115200;
  huart3.Init.WordLength = UART_WORDLENGTH_8B;
  huart3.Init.StopBits = UART_STOPBITS_1;
  huart3.Init.Parity = UART_PARITY_NONE;
  huart3.Init.Mode = UART_MODE_TX_RX;
  huart3.Init.HwFlowCtl = UART_HWCONTROL_NONE;
  huart3.Init.OverSampling = UART_OVERSAMPLING_16;
  if (HAL_UART_Init(&huart3) != HAL_OK)
  {
    Error_Handler();
  }

}

static void MX_USART6_UART_Init(void)
{

  huart6.Instance = USART6;
  huart6.Init.BaudRate = 115200;
  huart6.Init.WordLength = UART_WORDLENGTH_8B;
  huart6.Init.StopBits = UART_STOPBITS_1;
  huart6.Init.Parity = UART_PARITY_NONE;
  huart6.Init.Mode = UART_MODE_TX_RX;
  huart6.Init.HwFlowCtl = UART_HWCONTROL_NONE;
  huart6.Init.OverSampling = UART_OVERSAMPLING_16;
  if (HAL_UART_Init(&huart6) != HAL_OK)
  {
    Error_Handler();
  }

}

static void MX_USB_OTG_FS_PCD_Init(void)
{

  hpcd_USB_OTG_FS.Instance = USB_OTG_FS;
  hpcd_USB_OTG_FS.Init.dev_endpoints = 4;
  hpcd_USB_OTG_FS.Init.speed = PCD_SPEED_FULL;
  hpcd_USB_OTG_FS.Init.dma_enable = DISABLE;
  hpcd_USB_OTG_FS.Init.phy_itface = PCD_PHY_EMBEDDED;
  hpcd_USB_OTG_FS.Init.Sof_enable = DISABLE;
  hpcd_USB_OTG_FS.Init.low_power_enable = DISABLE;
  hpcd_USB_OTG_FS.Init.lpm_enable = DISABLE;
  hpcd_USB_OTG_FS.Init.vbus_sensing_enable = ENABLE;
  hpcd_USB_OTG_FS.Init.use_dedicated_ep1 = DISABLE;
  if (HAL_PCD_Init(&hpcd_USB_OTG_FS) != HAL_OK)
  {
    Error_Handler();
  }

}

static void MX_GPIO_Init(void)
{
  GPIO_InitTypeDef GPIO_InitStruct = {0};

  /* GPIO Ports Clock Enable */
  __HAL_RCC_GPIOC_CLK_ENABLE();
  __HAL_RCC_GPIOH_CLK_ENABLE();
  __HAL_RCC_GPIOA_CLK_ENABLE();
  __HAL_RCC_GPIOB_CLK_ENABLE();
  __HAL_RCC_GPIOD_CLK_ENABLE();
  __HAL_RCC_GPIOG_CLK_ENABLE();

  /*Configure GPIO pin Output Level */
  HAL_GPIO_WritePin(GPIOB, LD1_Pin|LD3_Pin|LD2_Pin, GPIO_PIN_RESET);

  /*Configure GPIO pin Output Level */
  HAL_GPIO_WritePin(USB_PowerSwitchOn_GPIO_Port, USB_PowerSwitchOn_Pin, GPIO_PIN_RESET);

  /*Configure GPIO pin Output Level */
  HAL_GPIO_WritePin(GPIOC, GPIO_PIN_8|GPIO_PIN_9|GPIO_PIN_10|GPIO_PIN_11, GPIO_PIN_RESET);

  /*Configure GPIO pin : USER_Btn_Pin */
  GPIO_InitStruct.Pin = USER_Btn_Pin;
  GPIO_InitStruct.Mode = GPIO_MODE_IT_RISING;
  GPIO_InitStruct.Pull = GPIO_NOPULL;
  HAL_GPIO_Init(USER_Btn_GPIO_Port, &GPIO_InitStruct);

  /*Configure GPIO pin : RMII_MDC_Pin */
  GPIO_InitStruct.Pin = RMII_MDC_Pin;
  GPIO_InitStruct.Mode = GPIO_MODE_AF_PP;
  GPIO_InitStruct.Pull = GPIO_NOPULL;
  GPIO_InitStruct.Speed = GPIO_SPEED_FREQ_VERY_HIGH;
  GPIO_InitStruct.Alternate = GPIO_AF11_ETH;
  HAL_GPIO_Init(RMII_MDC_GPIO_Port, &GPIO_InitStruct);

  /*Configure GPIO pins : RMII_REF_CLK_Pin RMII_MDIO_Pin */
  GPIO_InitStruct.Pin = RMII_REF_CLK_Pin|RMII_MDIO_Pin;
  GPIO_InitStruct.Mode = GPIO_MODE_AF_PP;
  GPIO_InitStruct.Pull = GPIO_NOPULL;
  GPIO_InitStruct.Speed = GPIO_SPEED_FREQ_VERY_HIGH;
  GPIO_InitStruct.Alternate = GPIO_AF11_ETH;
  HAL_GPIO_Init(GPIOA, &GPIO_InitStruct);

  /*Configure GPIO pin : PIR_Pin */
  GPIO_InitStruct.Pin = PIR_Pin;
  GPIO_InitStruct.Mode = GPIO_MODE_IT_RISING;
  GPIO_InitStruct.Pull = GPIO_NOPULL;
  HAL_GPIO_Init(PIR_GPIO_Port, &GPIO_InitStruct);

  /*Configure GPIO pin : PA6 */
  GPIO_InitStruct.Pin = GPIO_PIN_6;
  GPIO_InitStruct.Mode = GPIO_MODE_AF_PP;
  GPIO_InitStruct.Pull = GPIO_NOPULL;
  GPIO_InitStruct.Speed = GPIO_SPEED_FREQ_LOW;
  GPIO_InitStruct.Alternate = GPIO_AF9_TIM13;
  HAL_GPIO_Init(GPIOA, &GPIO_InitStruct);

  /*Configure GPIO pin : PA7 */
  GPIO_InitStruct.Pin = GPIO_PIN_7;
  GPIO_InitStruct.Mode = GPIO_MODE_AF_PP;
  GPIO_InitStruct.Pull = GPIO_NOPULL;
  GPIO_InitStruct.Speed = GPIO_SPEED_FREQ_LOW;
  GPIO_InitStruct.Alternate = GPIO_AF9_TIM14;
  HAL_GPIO_Init(GPIOA, &GPIO_InitStruct);

  /*Configure GPIO pins : LD1_Pin LD3_Pin LD2_Pin */
  GPIO_InitStruct.Pin = LD1_Pin|LD3_Pin|LD2_Pin;
  GPIO_InitStruct.Mode = GPIO_MODE_OUTPUT_PP;
  GPIO_InitStruct.Pull = GPIO_NOPULL;
  GPIO_InitStruct.Speed = GPIO_SPEED_FREQ_LOW;
  HAL_GPIO_Init(GPIOB, &GPIO_InitStruct);

  /*Configure GPIO pin : RMII_TXD1_Pin */
  GPIO_InitStruct.Pin = RMII_TXD1_Pin;
  GPIO_InitStruct.Mode = GPIO_MODE_AF_PP;
  GPIO_InitStruct.Pull = GPIO_NOPULL;
  GPIO_InitStruct.Speed = GPIO_SPEED_FREQ_VERY_HIGH;
  GPIO_InitStruct.Alternate = GPIO_AF11_ETH;
  HAL_GPIO_Init(RMII_TXD1_GPIO_Port, &GPIO_InitStruct);

  /*Configure GPIO pins : PG2 PG3 */
  GPIO_InitStruct.Pin = GPIO_PIN_2|GPIO_PIN_3;
  GPIO_InitStruct.Mode = GPIO_MODE_INPUT;
  GPIO_InitStruct.Pull = GPIO_PULLUP;
  HAL_GPIO_Init(GPIOG, &GPIO_InitStruct);

  /*Configure GPIO pin : USB_PowerSwitchOn_Pin */
  GPIO_InitStruct.Pin = USB_PowerSwitchOn_Pin;
  GPIO_InitStruct.Mode = GPIO_MODE_OUTPUT_PP;
  GPIO_InitStruct.Pull = GPIO_NOPULL;
  GPIO_InitStruct.Speed = GPIO_SPEED_FREQ_LOW;
  HAL_GPIO_Init(USB_PowerSwitchOn_GPIO_Port, &GPIO_InitStruct);

  /*Configure GPIO pin : USB_OverCurrent_Pin */
  GPIO_InitStruct.Pin = USB_OverCurrent_Pin;
  GPIO_InitStruct.Mode = GPIO_MODE_INPUT;
  GPIO_InitStruct.Pull = GPIO_NOPULL;
  HAL_GPIO_Init(USB_OverCurrent_GPIO_Port, &GPIO_InitStruct);

  /*Configure GPIO pins : PC8 PC9 PC10 PC11 */
  GPIO_InitStruct.Pin = GPIO_PIN_8|GPIO_PIN_9|GPIO_PIN_10|GPIO_PIN_11;
  GPIO_InitStruct.Mode = GPIO_MODE_OUTPUT_PP;
  GPIO_InitStruct.Pull = GPIO_NOPULL;
  GPIO_InitStruct.Speed = GPIO_SPEED_FREQ_LOW;
  HAL_GPIO_Init(GPIOC, &GPIO_InitStruct);

  /*Configure GPIO pin : PC12 */
  GPIO_InitStruct.Pin = GPIO_PIN_12;
  GPIO_InitStruct.Mode = GPIO_MODE_INPUT;
  GPIO_InitStruct.Pull = GPIO_PULLUP;
  HAL_GPIO_Init(GPIOC, &GPIO_InitStruct);

  /*Configure GPIO pin : PD2 */
  GPIO_InitStruct.Pin = GPIO_PIN_2;
  GPIO_InitStruct.Mode = GPIO_MODE_INPUT;
  GPIO_InitStruct.Pull = GPIO_PULLUP;
  HAL_GPIO_Init(GPIOD, &GPIO_InitStruct);

  /*Configure GPIO pins : RMII_TX_EN_Pin RMII_TXD0_Pin */
  GPIO_InitStruct.Pin = RMII_TX_EN_Pin|RMII_TXD0_Pin;
  GPIO_InitStruct.Mode = GPIO_MODE_AF_PP;
  GPIO_InitStruct.Pull = GPIO_NOPULL;
  GPIO_InitStruct.Speed = GPIO_SPEED_FREQ_VERY_HIGH;
  GPIO_InitStruct.Alternate = GPIO_AF11_ETH;
  HAL_GPIO_Init(GPIOG, &GPIO_InitStruct);

  /* EXTI interrupt init*/
  HAL_NVIC_SetPriority(EXTI9_5_IRQn, 2, 0);
  HAL_NVIC_EnableIRQ(EXTI9_5_IRQn);

}

/* USER CODE BEGIN 4 */
//void EXTI9_5_IRQHandler(void) {
//    HAL_GPIO_EXTI_IRQHandler(PIR_Pin);
//}
void HAL_GPIO_EXTI_Callback(uint16_t GPIO_Pin) {
    if (GPIO_Pin == PIR_Pin) { // HC-SR501 觸發
        if (HAL_GPIO_ReadPin(PIR_GPIO_Port, PIR_Pin) == GPIO_PIN_SET) {
        	PIR_Flags=1;
        	HAL_GPIO_WritePin(GPIOB, LD1_Pin, GPIO_PIN_SET);
        } else {
        	PIR_Flags=0;
        	HAL_GPIO_WritePin(GPIOB, LD1_Pin, GPIO_PIN_RESET);
        }
    }
}
static uint32_t lastIRTick = 0;
void HAL_TIM_IC_CaptureCallback(TIM_HandleTypeDef *htim)
{
    if(htim->Instance == TIM5)  // <-  ?????? ? ?  ?  ??????
    {
    	uint32_t now = HAL_GetTick();
		if (now - lastIRTick > 100) {
			// 如 ?  ?  ?? 100ms 沒收?  下 ?? bit，就 reset ??  ????
			bitCount = 0;
			receivedData = 0;
			isStartCaptured = 0;
		}
		lastIRTick = now;
        if(0 == bitCount && 0 == isStartCaptured && 0 == receivedData)
        {
            isStartCaptured = 1;
        }
        else if(0 == bitCount && 1 == isStartCaptured && 0 == receivedData)
        {
            __HAL_TIM_SET_COUNTER(&htim5, 0);
            isStartCaptured = 2;
        }
        else if(32 > bitCount)
        {
            IC_Value = HAL_TIM_ReadCapturedValue(&htim5, TIM_CHANNEL_1);
            __HAL_TIM_SET_COUNTER(&htim5, 0);

            if(1000 < IC_Value && 1300 > IC_Value)
            {
                receivedData &= ~(1 << bitCount);
            }
            if(2100 < IC_Value && 2400 > IC_Value)
            {
                receivedData |= (1 << bitCount);
            }
            bitCount++;
            if(bitCount == 32)
                HAL_TIM_IC_Stop_IT(&htim5, TIM_CHANNEL_1);  // <- ? 裡 ?? ??
        }
    }
}

/* USER CODE END 4 */

void Error_Handler(void)
{
  __disable_irq();
  while (1)
  {
  }
}
